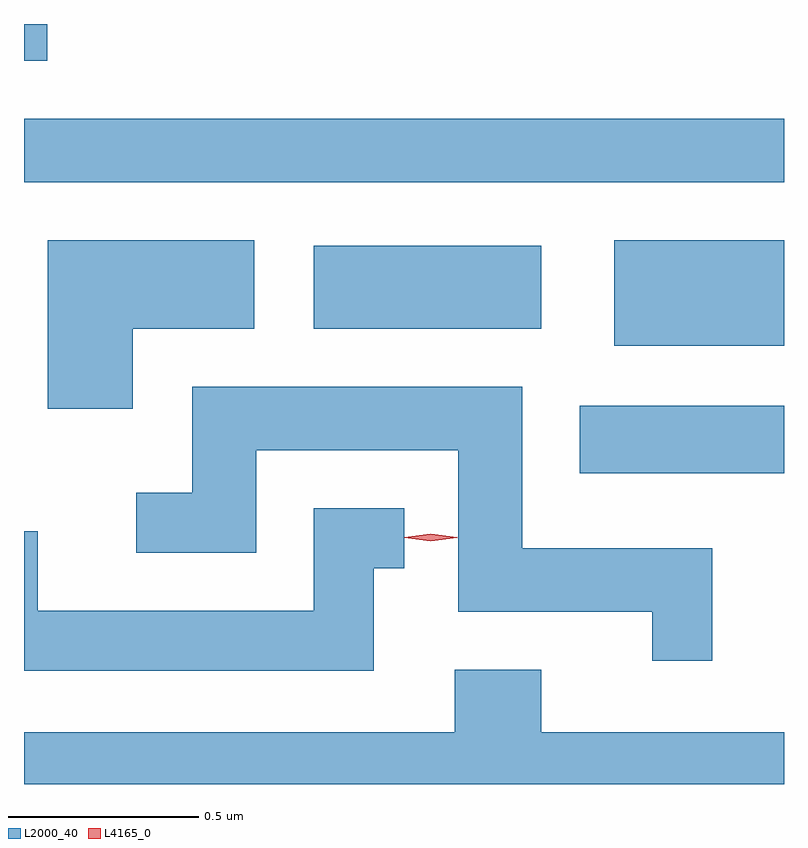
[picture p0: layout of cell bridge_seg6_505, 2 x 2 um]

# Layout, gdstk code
import gdstk
lib = gdstk.Library(unit=1e-6, precision=1e-09)
def R(c, l, rs):  # rectangles x0, y0, x1, y1
    for r in rs: c.add(gdstk.rectangle(r[:2], r[2:], *l))
def P(c, l, *ps):  # polygons
    for p in ps: c.add(gdstk.Polygon(p, *l))
L2000_40 = (2000, 40)
L4165_0 = (4165, 0)

bridge_seg6_505 = lib.new_cell('bridge_seg6_505')
R(bridge_seg6_505, L2000_40, [(812.081,1595.386,812.618,1595.564), (812.171,1595.721,812.618,1595.999), (811.381,1595.766,811.979,1595.984), (810.618,1596.151,812.618,1596.319), (810.618,1596.471,810.679,1596.568)])
P(bridge_seg6_505, L2000_40, [(810.904,1595.766),(811.224,1595.766),(811.224,1595.999),(810.681,1595.999),(810.681,1595.556),(810.904,1595.556)],
  [(812.429,1595.189),(811.929,1595.189),(811.929,1595.614),(811.061,1595.614),(811.061,1595.334),(810.913,1595.334),(810.913,1595.176),(811.229,1595.176),(811.229,1595.446),(811.761,1595.446),(811.761,1595.021),(812.271,1595.021),(812.271,1594.893),(812.429,1594.893)],
  [(811.539,1595.136),(811.618,1595.136),(811.618,1595.294),(811.381,1595.294),(811.381,1595.024),(810.654,1595.024),(810.654,1595.233),(810.618,1595.233),(810.618,1594.866),(811.539,1594.866)],
  [(812.618,1594.704),(811.979,1594.704),(811.979,1594.869),(811.751,1594.869),(811.751,1594.704),(810.618,1594.704),(810.618,1594.568),(812.618,1594.568)])
P(bridge_seg6_505, L4165_0, [(811.688,1595.207),(811.619,1595.216),(811.619,1595.216),(811.619,1595.217),(811.688,1595.226),(811.758,1595.217),(811.758,1595.217),(811.758,1595.216)])

lib.write_gds('bridge_seg6_505.gds')
